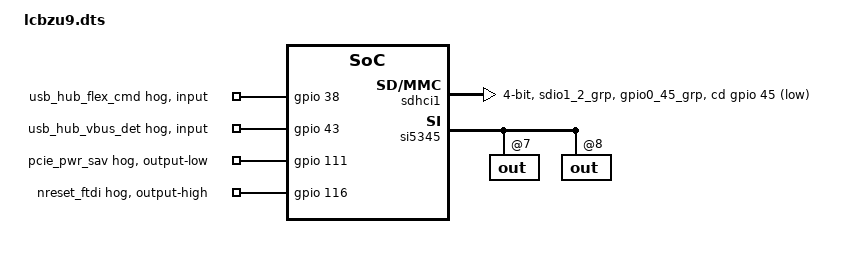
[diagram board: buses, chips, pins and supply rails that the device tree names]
/*
 * dts file for lcbzu9 (Lowpad Carrier Board) without PL
 *
 * (C) Copyright 2022, Topic Embedded Products BV
 *
 * This program is free software; you can redistribute it and/or
 * modify it under the terms of the GNU General Public License as
 * published by the Free Software Foundation; either version 2 of
 * the License, or (at your option) any later version.
 */

#include "zynqmp-topic-miamiplusmp.dts"

/ {
	aliases {
		ethernet0 = &gem2;
		ethernet1 = &gem1;
		ethernet2 = &gem0;
	};
};

/* SD1 to SD-card, fixed 3v3 level shifter */
&sdhci1 {
	status = "okay";
	bus-width = <4>;
	xlnx,mio_bank = <1>;
	pinctrl-names = "default";
	pinctrl-0 = <&pinctrl_sdhci1_default>;
	/* Use GPIO based card detect */
	cd-gpios = <&gpio 45 GPIO_ACTIVE_LOW>;
	disable-wp;
	no-1-8-v; /* no 1v8/3v3 selection hence limited to high-speed */
};

&i2c0 {
	/* Devices on this bus depend on the level shifters being enabled, so we
	 * have to wait until the FPGA has been programmed */
	status = "disabled";
	/* USB hub has max 100kHz frequency, so that's the max speed for this bus */
	clock-frequency = <100000>;

	/* USB hub, 0x2d */
	usbhub@2d {
		compatible = "microchip,usb5807";
		reg = <0x2d>;
		reset-gpios = <&gpio 42 GPIO_ACTIVE_LOW>;
		swap-dx-lanes = <0>; /* Swap D+/D- on upstream port */
		upstream-port = <0>;
	};

	/* EEPROM @ 0x50 : M24C32-RMN6TP 32 Kbit */
	eeprom@50 {
		compatible = "atmel,24c32";
		reg = <0x50>;
		pagesize = <32>;
		#address-cells = <1>;
		#size-cells = <1>;
		vcc-supply = <&reg_1v8_miami>;
	};

	/* Real time clock, 0x51 */
	rtc@51 {
		compatible = "nxp,pcf85263";
		reg = <0x51>;
		#clock-cells = <0>;
		wakeup-source; /* Can power up the board */
	};

	/* PCIe Packet switch, E 0x6f */
};

/* USB0 not used */
&usb0 {
	status = "disabled";
};
&dwc3_0 {
	status = "disabled";
};

/* USB3 to HUB. Might be OTG since the HUB allows switching upstream port */
&usb1 {
	status = "disabled"; /* Need level shifter */
};
&dwc3_1 {
	status = "disabled"; /* Need level shifter */
	dr_mode = "host";
	/* refclk0 from clock synth */
	assigned-clocks = <&si5345 0 3>;
	assigned-clock-rates = <100000000>;
	phy-names = "usb3-phy";
	phys = <&psgtr 3 PHY_TYPE_USB3 1 0>;
	maximum-speed = "super-speed";
	snps,usb3_lpm_capable;
};

&pcie {
	status = "disabled"; /* Need level shifter */
	phys = <&psgtr 0 PHY_TYPE_PCIE 0 0>;
	/* refclk0 from clock synth */
	assigned-clocks      = <&si5345 0 3>;
	assigned-clock-rates =   <100000000>;
};

&gpio {
	usb-hub-flex-cmd {
		gpio-hog;
		gpios = <38 0>;
		input;
		line-name = "usb_hub_flex_cmd";
	};
	usb-hub-vbus-det {
		gpio-hog;
		gpios = <43 0>;
		input;
		line-name = "usb_hub_vbus_det";
	};
	pcie-pwr-sav {
		gpio-hog;
		gpios = <111 0>; /* EMIO 33 */
		output-low;
		line-name = "pcie_pwr_sav";
	};
	nreset-ftdi {
		gpio-hog;
		gpios = <116 0>; /* EMIO 38 */
		output-high;
		line-name = "nreset_ftdi";
	};
};

/* Don't use the ZynqMP RTC, there's an I2C RTC on the carrier */
&rtc {
	status = "disabled";
};

&si5345 {
	/* Configure PLL for audio */
	assigned-clock-parents = <0>, <0>, <0>, <0>, <0>,
				<&si5345 1 0>, /* out 0 */
				<&si5345 1 0>,
				<&si5345 1 0>,
				<&si5345 1 0>,
				<&si5345 1 0>,
				<&si5345 1 0>, /* out 5 */
				<&si5345 1 0>,
				<&si5345 1 1>, /* out 7 */
				<&si5345 1 0>,
				<&si5345 1 0>;
	assigned-clock-rates =	<1000000000>, /* synth 0 */
				< 393216000>, /* 48000 * 8192 for audio */
				<0>,
				<0>,
				<0>,
				<100000000>, /* out 0 */
				<100000000>,
				<125000000>,
				<100000000>,
				<100000000>,
				< 25000000>, /* out 5 (ethernet) */
				<100000000>,
				< 98304000>, /* out 7 (Audio MCLK) */
				<100000000>, /* out 8 (PS refclk3) */
				<100000000>;
	out@7 {
		silabs,synth-master; /* Allow changing PLL frequency */
	};
	out@8 {
		/delete-property/ always-on;
	};
};

/* GEM 1 is connected from PS to switch directly using SGMII. MDIO to switch. */
&gem1 {
	status = "disabled"; /* Some parts connected through PL */
	phy-mode = "sgmii";
	phys = <&psgtr 1 PHY_TYPE_SGMII 1 1>; /* Lane 1 refclk 1 */
	/* Need 125MHz GT clock (Xilinx drivers lack proper clk support) */
	assigned-clocks = <&si5345 0 2>;
	assigned-clock-rates = <125000000>;
};

/* Remove the TSU clock, we use clock 7 for audio */
&gem2 {
	/* Need 25MHz and 125MHz clocks (Xilinx drivers lack proper clk support) */
	assigned-clocks      = <&si5345 0 5>, <&si5345 0 2>;
	assigned-clock-rates =    <25000000>,   <125000000>;
	/* Revert TSU clock (copied from zynqmp-clk-ccf.dtsi) */
	clocks = <&zynqmp_clk LPD_LSBUS>, <&zynqmp_clk GEM2_REF>,
		 <&zynqmp_clk GEM2_TX>, <&zynqmp_clk GEM2_RX>,
		 <&zynqmp_clk GEM_TSU>;
};

&pinctrl0 {
	status = "okay";

	pinctrl_sdhci1_default: sdhci1-sd-default {
		/* SD using pins 46 .. 51 in 4-bit mode */
		mux {
			groups = "sdio1_2_grp";
			function = "sdio1";
		};
		conf {
			groups = "sdio1_2_grp";
			slew-rate = <SLEW_RATE_FAST>;
			io-standard = <IO_STANDARD_LVCMOS18>;
			bias-disable;
		};

		/* Card detect on pin 45 */
		mux-cd {
			groups = "gpio0_45_grp";
			function = "gpio0";
		};
		conf-cd {
			groups = "gpio0_45_grp";
			bias-high-impedance;
			slew-rate = <SLEW_RATE_SLOW>;
			io-standard = <IO_STANDARD_LVCMOS18>;
			bias-pull-up;
		};
	};
};
